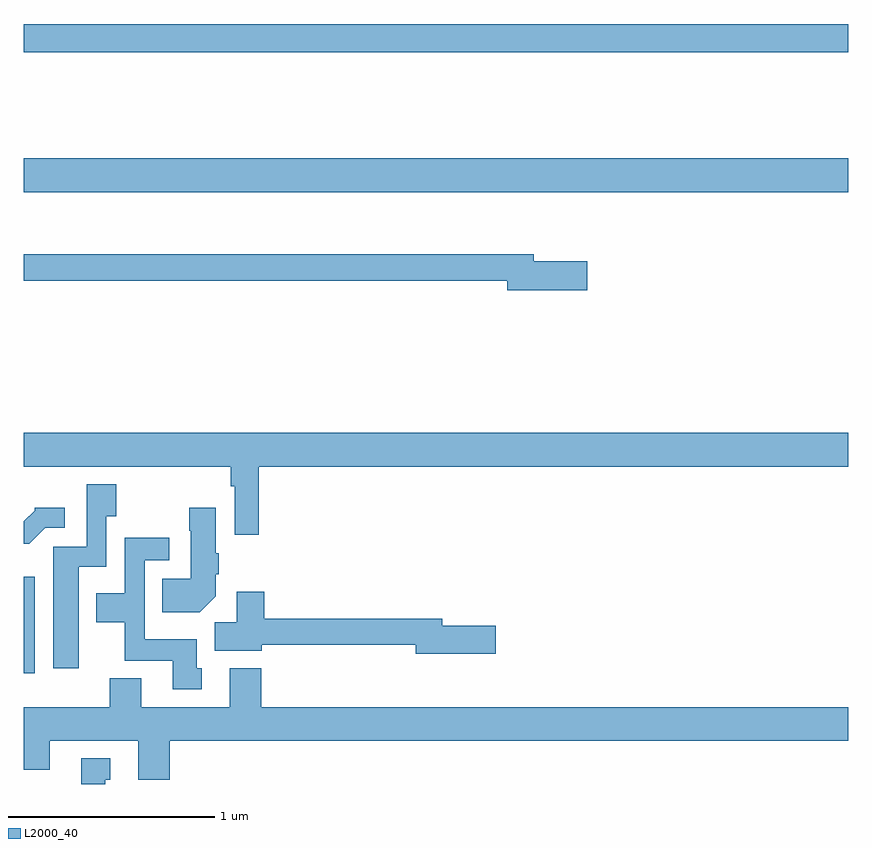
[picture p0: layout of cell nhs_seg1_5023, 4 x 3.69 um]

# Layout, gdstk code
import gdstk
lib = gdstk.Library(unit=1e-6, precision=1e-09)
def R(c, l, rs):  # rectangles x0, y0, x1, y1
    for r in rs: c.add(gdstk.rectangle(r[:2], r[2:], *l))
def P(c, l, *ps):  # polygons
    for p in ps: c.add(gdstk.Polygon(p, *l))
L2000_40 = (2000, 40)

nhs_seg1_5023 = lib.new_cell('nhs_seg1_5023')
R(nhs_seg1_5023, L2000_40, [(383,542.736,383.053,543.205), (383,545.072,387,545.236), (383,545.752,387,545.888)])
P(nhs_seg1_5023, L2000_40, [(385.735,544.737),(385.474,544.737),(385.474,544.771),(383,544.771),(383,544.642),(385.346,544.642),(385.346,544.595),(385.735,544.595)],
  [(383,543.74),(384.004,543.74),(384.004,543.644),(384.024,543.644),(384.024,543.408),(384.14,543.408),(384.14,543.74),(387,543.74),(387,543.904),(383,543.904)],
  [(383.266,543.254),(383.4,543.254),(383.4,543.499),(383.448,543.499),(383.448,543.655),(383.304,543.655),(383.304,543.351),(383.141,543.351),(383.141,542.76),(383.266,542.76)],
  [(383.103,543.444),(383.197,543.444),(383.197,543.541),(383.052,543.541),(383.052,543.526),(383,543.474),(383,543.366),(383.025,543.366)],
  [(383.932,543.11),(383.932,543.217),(383.945,543.217),(383.945,543.32),(383.932,543.32),(383.932,543.541),(383.803,543.541),(383.803,543.428),(383.81,543.428),(383.81,543.196),(383.671,543.196),(383.671,543.032),(383.854,543.032)],
  [(383.863,542.76),(383.839,542.76),(383.839,542.902),(383.586,542.902),(383.586,543.285),(383.704,543.285),(383.704,543.394),(383.49,543.394),(383.49,543.124),(383.351,543.124),(383.351,542.984),(383.488,542.984),(383.488,542.798),(383.723,542.798),(383.723,542.658),(383.863,542.658)],
  [(385.291,542.966),(385.03,542.966),(385.03,543.002),(384.167,543.002),(384.167,543.133),(384.032,543.133),(384.032,542.984),(383.927,542.984),(383.927,542.846),(384.154,542.846),(384.154,542.874),(384.902,542.874),(384.902,542.831),(385.291,542.831)],
  [(383.708,542.408),(387,542.408),(387,542.572),(384.152,542.572),(384.152,542.761),(383.999,542.761),(383.999,542.572),(383.569,542.572),(383.569,542.713),(383.417,542.713),(383.417,542.572),(383,542.572),(383,542.267),(383.125,542.267),(383.125,542.408),(383.555,542.408),(383.555,542.219),(383.708,542.219)],
  [(383.395,542.22),(383.419,542.22),(383.419,542.323),(383.279,542.323),(383.279,542.199),(383.395,542.199)])

lib.write_gds('nhs_seg1_5023.gds')
